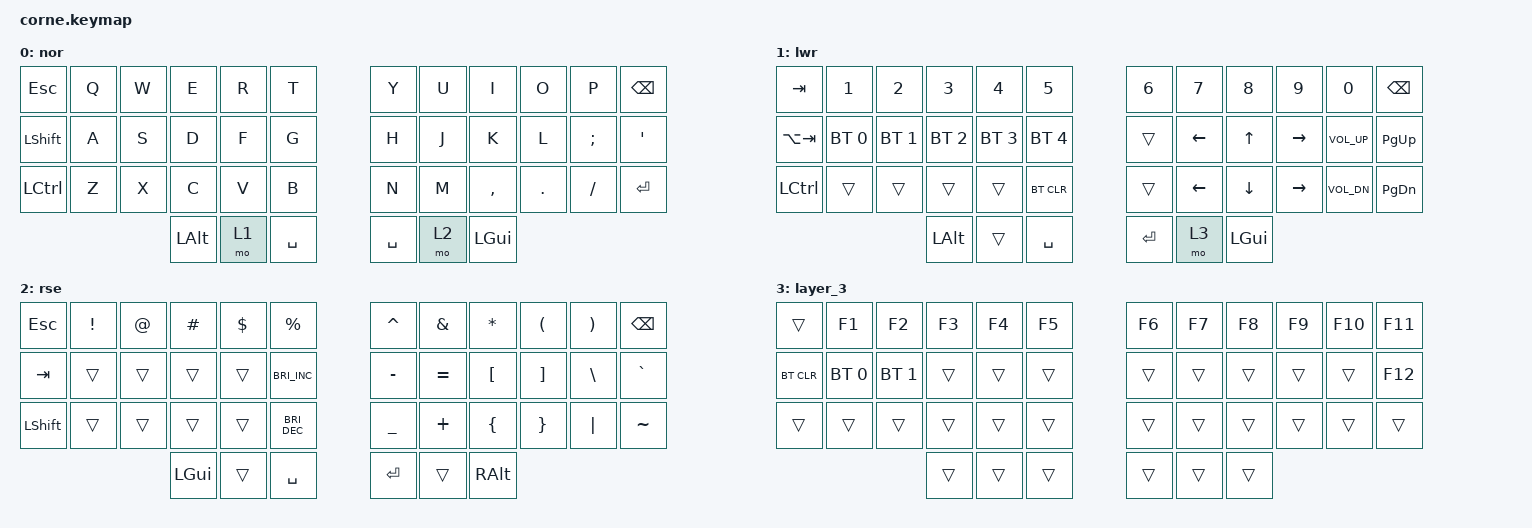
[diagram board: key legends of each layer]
/*
 * Copyright (c) 2020 The ZMK Contributors
 *
 * SPDX-License-Identifier: MIT
 */

#include <behaviors.dtsi>
#include <dt-bindings/zmk/bt.h>
#include <dt-bindings/zmk/keys.h>

/ {
    keymap {
        compatible = "zmk,keymap";

        default_layer {
            display-name = "nor";

            // -----------------------------------------------------------------------------------------
            // |  TAB |  Q  |  W  |  E  |  R  |  T  |   |  Y  |  U   |  I  |  O  |  P  | BSPC |
            // | CTRL |  A  |  S  |  D  |  F  |  G  |   |  H  |  J   |  K  |  L  |  ;  |  '   |
            // | SHFT |  Z  |  X  |  C  |  V  |  B  |   |  N  |  M   |  ,  |  .  |  /  | ESC  |
            //                    | GUI | LWR | SPC |   | ENT | RSE  | ALT |

            bindings = <
&kp ESC         &kp Q  &kp W  &kp E         &kp R  &kp T        &kp Y      &kp U  &kp I         &kp O    &kp P     &kp BSPC
&kp LEFT_SHIFT  &kp A  &kp S  &kp D         &kp F  &kp G        &kp H      &kp J  &kp K         &kp L    &kp SEMI  &kp SQT
&kp LCTRL       &kp Z  &kp X  &kp C         &kp V  &kp B        &kp N      &kp M  &kp COMMA     &kp DOT  &kp FSLH  &kp ENTER
                              &kp LEFT_ALT  &mo 1  &kp SPACE    &kp SPACE  &mo 2  &kp LEFT_GUI
            >;
        };

        lower_layer {
            display-name = "lwr";

            // -----------------------------------------------------------------------------------------
            // |  TAB |  1  |  2  |  3  |  4  |  5  |   |  6  |  7  |  8  |  9  |  0  | BSPC |
            // | BTCLR| BT1 | BT2 | BT3 | BT4 | BT5 |   | LFT | DWN |  UP | RGT |     |      |
            // | SHFT |     |     |     |     |     |   |     |     |     |     |     |      |
            //                    | GUI |     | SPC |   | ENT |     | ALT |

            bindings = <
&kp TAB      &kp N1        &kp N2        &kp N3        &kp N4        &kp N5          &kp N6   &kp N7    &kp N8        &kp N9     &kp N0           &kp BSPC
&kp LA(TAB)  &bt BT_SEL 0  &bt BT_SEL 1  &bt BT_SEL 2  &bt BT_SEL 3  &bt BT_SEL 4    &trans   &kp LEFT  &kp UP        &kp RIGHT  &kp C_VOLUME_UP  &kp PG_UP
&kp LCTRL    &trans        &trans        &trans        &trans        &bt BT_CLR      &trans   &kp LEFT  &kp DOWN      &kp RIGHT  &kp C_VOL_DN     &kp PG_DN
                                         &kp LEFT_ALT  &trans        &kp SPACE       &kp RET  &mo 3     &kp LEFT_GUI
            >;
        };

        raise_layer {
            display-name = "rse";

            // -----------------------------------------------------------------------------------------
            // |  TAB |  !  |  @  |  #  |  $  |  %  |   |  ^  |  &  |  *  |  (  |  )  | BSPC |
            // | CTRL |     |     |     |     |     |   |  -  |  =  |  [  |  ]  |  \  |  `   |
            // | SHFT |     |     |     |     |     |   |  _  |  +  |  {  |  }  | "|" |  ~   |
            //                    | GUI |     | SPC |   | ENT |     | ALT |

            bindings = <
&kp ESC    &kp EXCL  &kp AT  &kp HASH  &kp DLLR  &kp PRCNT               &kp CARET  &kp AMPS   &kp ASTRK  &kp LPAR  &kp RPAR  &kp BSPC
&kp TAB    &trans    &trans  &trans    &trans    &kp C_BRIGHTNESS_INC    &kp MINUS  &kp EQUAL  &kp LBKT   &kp RBKT  &kp BSLH  &kp GRAVE
&kp LSHFT  &trans    &trans  &trans    &trans    &kp C_BRIGHTNESS_DEC    &kp UNDER  &kp PLUS   &kp LBRC   &kp RBRC  &kp PIPE  &kp TILDE
                             &kp LGUI  &trans    &kp SPACE               &kp RET    &trans     &kp RALT
            >;
        };

        layer_3 {
            bindings = <
&trans      &kp F1        &kp F2        &kp F3  &kp F4  &kp F5    &kp F6  &kp F7  &kp F8  &kp F9  &kp F10  &kp F11
&bt BT_CLR  &bt BT_SEL 0  &bt BT_SEL 1  &trans  &trans  &trans    &trans  &trans  &trans  &trans  &trans   &kp F12
&trans      &trans        &trans        &trans  &trans  &trans    &trans  &trans  &trans  &trans  &trans   &trans
                                        &trans  &trans  &trans    &trans  &trans  &trans
            >;
        };
    };
};
